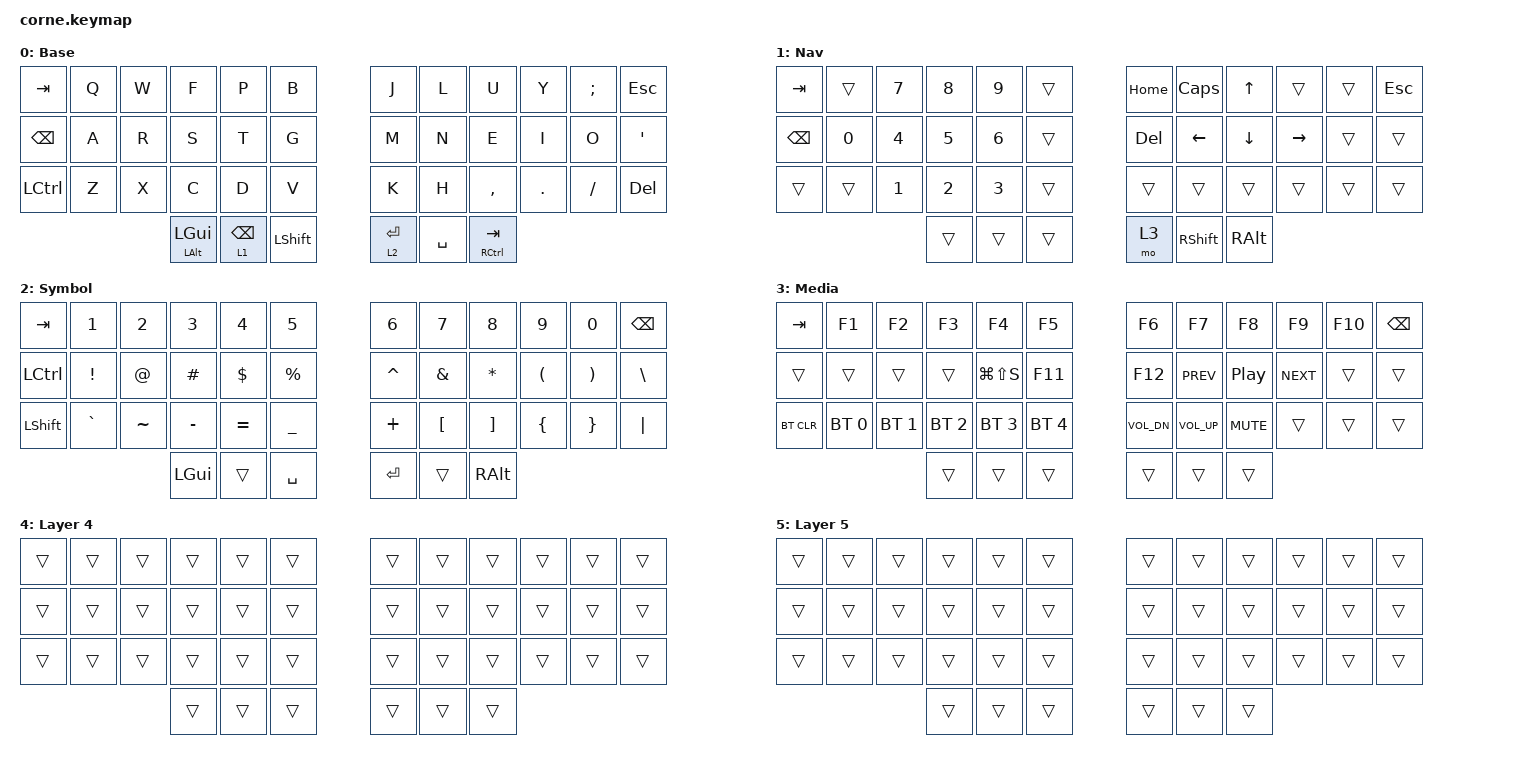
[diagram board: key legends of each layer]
/*
 * Copyright (c) 2020 The ZMK Contributors
 *
 * SPDX-License-Identifier: MIT
 */

#include <behaviors.dtsi>
#include <dt-bindings/zmk/bt.h>
#include <dt-bindings/zmk/keys.h>

/ {
    behaviors {
        lt_bspc: layer_tap_bspc {
            compatible = "zmk,behavior-hold-tap";
            #binding-cells = <2>;
            flavor = "balanced";
            tapping-term-ms = <200>;
            quick-tap-ms = <200>;
            require-prior-idle-ms = <130>;
            bindings = <&mo>, <&kp>;
        };

        lt_enter: layer_tap_enter {
            compatible = "zmk,behavior-hold-tap";
            #binding-cells = <2>;
            flavor = "balanced";
            tapping-term-ms = <200>;
            quick-tap-ms = <200>;
            require-prior-idle-ms = <130>;
            bindings = <&mo>, <&kp>;
        };
    };

    combos {
        compatible = "zmk,combos";

        volup {
            bindings = <&kp C_VOLUME_UP>;
            key-positions = <6 7>;
        };

        voldown {
            bindings = <&kp C_VOL_DN>;
            key-positions = <18 19>;
        };
    };

    keymap {
        compatible = "zmk,keymap";

        default_layer {
            display-name = "Base";

            // -----------------------------------------------------------------------------------------
            // |  TAB |  Q  |  W  |  F  |  P  |  B  |   |  J  |  L   |  U  |  Y  |  ;  | BKSP |
            // | CTRL |  A  |  R  |  S  |  T  |  G  |   |  M  |  N   |  E  |  I  |  O  |  '   |
            // | SHFT |  Z  |  X  |  C  |  D  |  V  |   |  K  |  H   |  ,  |  .  |  /  | ESC  |
            //                    | GUI | LWR | SPC |   | ENT | RSE  | ALT |

            bindings = <
&kp TAB           &kp Q  &kp W  &kp F                  &kp P                 &kp B             &kp J              &kp L      &kp U                  &kp Y    &kp SEMI  &kp ESC
&kp BACKSPACE     &kp A  &kp R  &kp S                  &kp T                 &kp G             &kp M              &kp N      &kp E                  &kp I    &kp O     &kp SQT
&kp LEFT_CONTROL  &kp Z  &kp X  &kp C                  &kp D                 &kp V             &kp K              &kp H      &kp COMMA              &kp DOT  &kp FSLH  &kp DEL
                                &mt LEFT_ALT LEFT_GUI  &lt_bspc 1 BACKSPACE  &kp LEFT_SHIFT    &lt_enter 2 ENTER  &kp SPACE  &mt RIGHT_CONTROL TAB
            >;
        };

        lower_layer {
            display-name = "Nav";

            // -----------------------------------------------------------------------------------------
            // |  TAB |     |  7  |  8  |  9  |     |   | HOME| CAP |  UP |     |     | ESC  |
            // | BKSP |  0  |  4  |  5  |  6  |     |   | DEL | LFT | DWN | RGT |     |      |
            // |      |     |  1  |  2  |  3  |     |   |     |     |     |     |     |      |
            //                    |     |     |     |   | MO 3| SHFT| ALTG|

            bindings = <
&kp TAB   &trans  &kp N7  &kp N8  &kp N9  &trans    &kp HOME  &kp CAPS   &kp UP    &trans     &trans  &kp ESC
&kp BSPC  &kp N0  &kp N4  &kp N5  &kp N6  &trans    &kp DEL   &kp LEFT   &kp DOWN  &kp RIGHT  &trans  &trans
&trans    &trans  &kp N1  &kp N2  &kp N3  &trans    &trans    &trans     &trans    &trans     &trans  &trans
                          &trans  &trans  &trans    &mo 3     &kp RSHFT  &kp RALT
            >;
        };

        raise_layer {
            display-name = "Symbol";

            // -----------------------------------------------------------------------------------------
            // |  TAB |  1  |  2  |  3  |  4  |  5  |   |  6  |  7  |  8  |  9  |  0  | BKSP |
            // | CTRL |  !  |  @  |  #  |  $  |  %  |   |  ^  |  &  |  *  |  (  |  )  |  \   |
            // | SHFT |  `  |  ~  |  -  |  =  |  _  |   |  +  |  [  |  ]  |  {  |  }  | "|"  |
            //                    | GUI |     | SPC |   | ENT |     | ALT |

            bindings = <
&kp TAB    &kp N1     &kp N2     &kp N3     &kp N4     &kp N5       &kp N6     &kp N7    &kp N8     &kp N9    &kp N0    &kp BSPC
&kp LCTRL  &kp EXCL   &kp AT     &kp HASH   &kp DLLR   &kp PRCNT    &kp CARET  &kp AMPS  &kp ASTRK  &kp LPAR  &kp RPAR  &kp BSLH
&kp LSHFT  &kp GRAVE  &kp TILDE  &kp MINUS  &kp EQUAL  &kp UNDER    &kp PLUS   &kp LBKT  &kp RBKT   &kp LBRC  &kp RBRC  &kp PIPE
                                 &kp LGUI   &trans     &kp SPACE    &kp RET    &trans    &kp RALT
            >;
        };

        layer_3 {
            display-name = "Media";

            // ---------------------------------------------------------------------------------------------------------
            // |  TAB |  F1  |  F2  |  F3  |  F4  |  F5  |   |  F6  |  F7  |  F8  |  F9  |  F10 | BKSP |
            // |      |      |      |      | SNIP |  F11 |   |  F12 | PREV | PLAY | NEXT |      |      |
            // | BTCLR| BT1  | BT2  | BT3  | BT4  | BT5  |   |      | MUTE | VOL- | VOL+ |      |      |
            //                     |      |      |      |   |      |      |      |

            bindings = <
&kp TAB     &kp F1        &kp F2        &kp F3        &kp F4         &kp F5          &kp F6        &kp F7        &kp F8      &kp F9      &kp F10  &kp BSPC
&trans      &trans        &trans        &trans        &kp LG(LS(S))  &kp F11         &kp F12       &kp C_PREV    &kp C_PP    &kp C_NEXT  &trans   &trans
&bt BT_CLR  &bt BT_SEL 0  &bt BT_SEL 1  &bt BT_SEL 2  &bt BT_SEL 3   &bt BT_SEL 4    &kp C_VOL_DN  &kp C_VOL_UP  &kp C_MUTE  &trans      &trans   &trans
                                        &trans        &trans         &trans          &trans        &trans        &trans
            >;
        };

        layer_4 {
            display-name = "Layer 4";
            bindings = <
&trans  &trans  &trans  &trans  &trans  &trans    &trans  &trans  &trans  &trans  &trans  &trans
&trans  &trans  &trans  &trans  &trans  &trans    &trans  &trans  &trans  &trans  &trans  &trans
&trans  &trans  &trans  &trans  &trans  &trans    &trans  &trans  &trans  &trans  &trans  &trans
                        &trans  &trans  &trans    &trans  &trans  &trans
            >;
        };

        layer_5 {
            display-name = "Layer 5";
            bindings = <
&trans  &trans  &trans  &trans  &trans  &trans    &trans  &trans  &trans  &trans  &trans  &trans
&trans  &trans  &trans  &trans  &trans  &trans    &trans  &trans  &trans  &trans  &trans  &trans
&trans  &trans  &trans  &trans  &trans  &trans    &trans  &trans  &trans  &trans  &trans  &trans
                        &trans  &trans  &trans    &trans  &trans  &trans
            >;
        };
    };
};
